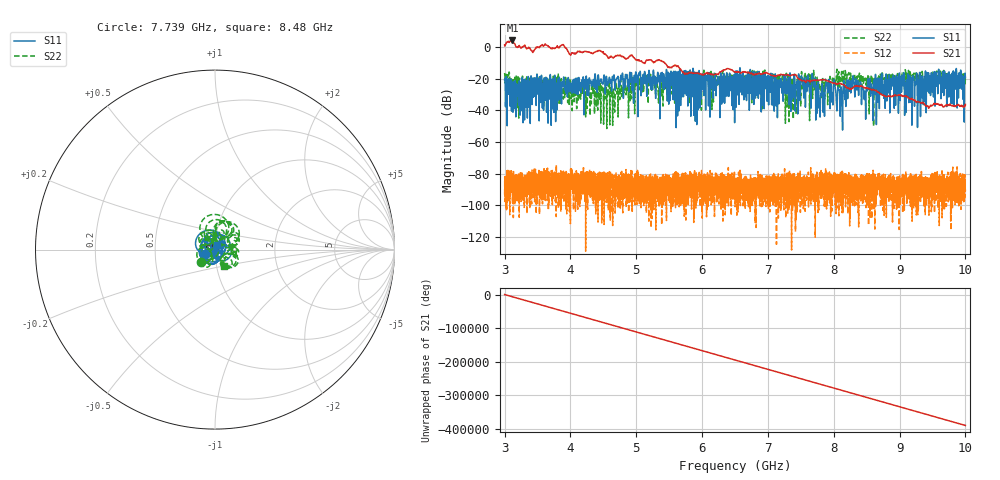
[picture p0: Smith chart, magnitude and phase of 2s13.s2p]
!Agilent Technologies,E8363B,MY43030572,A.06.04.32
!Agilent E8363B: A.06.04.32
!Date: Monday, June 06, 2011 14:36:19
!Correction: S11(Full 2 Port(1,2)) S21(Full 2 Port(1,2)) S12(Full 2 Port(1,2)) S22(Full 2 Port(1,2))
!S2P File: Measurements: S11, S21, S12, S22:
# Hz S  dB  R 50
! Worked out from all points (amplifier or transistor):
!   6401 points, 3 GHz to 10 GHz, reference 50 ohm
!   highest |S21| = 4.1 dB at 3.118 GHz (marker M1)
!   |S21| within 3 dB of that: 3.008 GHz to 3.162 GHz (153.2 MHz wide, 4.97 % of centre)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
!   unconditionally stable (mu >= 1): start of sweep to end of sweep
!   at 4.166 GHz: K = 7693.55, MAG = -3.1 dB, |S12| = -80.7 dB
!   at 6.5 GHz: K = 125498.75, MAG = -15.8 dB, |S12| = -92.2 dB
!   at 10 GHz: K = 1165220.82, MAG = -36.3 dB, |S12| = -91.2 dB
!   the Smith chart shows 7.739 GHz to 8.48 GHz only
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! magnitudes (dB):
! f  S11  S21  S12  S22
! 3 GHz  -20.8  1.3  -93.4  -16.5
! 3.118 GHz  -22.7  4.1  -89.3  -22.7
! 3.424 GHz  -20.0  -3.2  -82.0  -19.4
! 4.167 GHz  -22.4  -3.1  -85.5  -24.3
! 4.284 GHz  -20.2  -3.3  -92.7  -24.1
! 4.354 GHz  -21.7  -3.7  -89.2  -20.9
! 4.648 GHz  -21.2  -6.8  -88.7  -29.1
! 5.131 GHz  -16.2  -10.5  -85.1  -19.3
! 5.334 GHz  -19.3  -8.2  -84.8  -30.2
! 5.758 GHz  -20.5  -16.9  -82.1  -19.9
! 6.5 GHz  -19.1  -15.9  -92.2  -21.7
! 7.052 GHz  -22.8  -18.0  -98.4  -18.1
! 7.352 GHz  -28.7  -17.9  -84.3  -20.6
! 7.667 GHz  -17.8  -21.4  -87.1  -18.8
! 7.761 GHz  -22.3  -21.2  -104.6  -21.4
! 7.904 GHz  -26.7  -21.4  -88.4  -29.0
! 8.108 GHz  -26.1  -23.2  -100.2  -21.7
! 8.275 GHz  -22.6  -26.1  -93.1  -19.6
! 8.455 GHz  -27.3  -25.8  -87.8  -21.5
! 8.543 GHz  -20.2  -26.4  -89.7  -23.6
! 8.834 GHz  -19.3  -30.9  -88.0  -20.7
! 10 GHz  -19.2  -36.4  -91.2  -19.5
